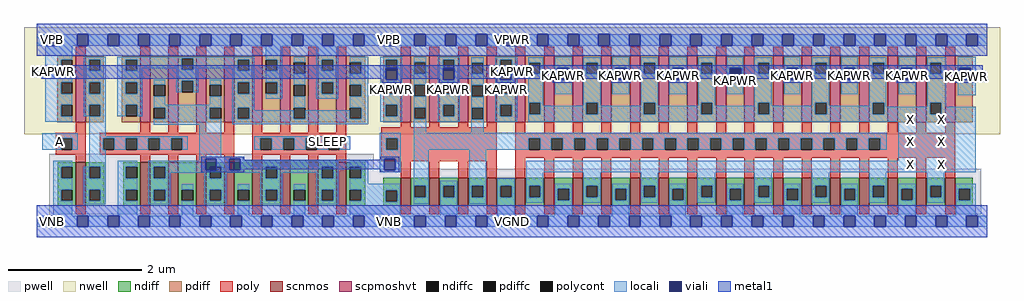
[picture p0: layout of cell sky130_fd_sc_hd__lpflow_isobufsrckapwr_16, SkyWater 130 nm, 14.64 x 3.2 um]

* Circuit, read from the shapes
.subckt sky130_fd_sc_hd__lpflow_isobufsrckapwr_16 A SLEEP KAPWR VGND VNB VPB VPWR X
XM1 n1 A VGND VNB sky130_fd_pr__nfet_01v8 w=0.65 l=0.15
XM2 n2 n1 VGND VNB sky130_fd_pr__nfet_01v8 w=0.65 l=0.15 m=4
XM3 n2 SLEEP VGND VNB sky130_fd_pr__nfet_01v8 w=0.65 l=0.15 m=4
XM4 n3 n2 VGND VNB sky130_fd_pr__nfet_01v8 w=0.42 l=0.15 m=4
XM5 X n3 VGND VNB sky130_fd_pr__nfet_01v8 w=0.42 l=0.15 m=16
XM6 n1 A VPWR VPB sky130_fd_pr__pfet_01v8_hvt w=1 l=0.15
XM7 n2 n1 n4 VPB sky130_fd_pr__pfet_01v8_hvt w=1 l=0.15 m=4
XM8 VPWR SLEEP n4 VPB sky130_fd_pr__pfet_01v8_hvt w=1 l=0.15 m=4
XM9 n3 n2 KAPWR VPB sky130_fd_pr__pfet_01v8_hvt w=1 l=0.15 m=4
XM10 X n3 KAPWR VPB sky130_fd_pr__pfet_01v8_hvt w=1 l=0.15 m=16
.ends

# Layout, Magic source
magic
tech sky130A
magscale 1 2
<< nwell >>
rect -38 261 2890 582
<< pwell >>
rect 37 157 1011 203
rect 37 21 2834 157
rect 37 17 64 21
rect 30 -17 64 17
rect 1041 -17 1075 21
<< scnmos >>
rect 117 47 147 177
rect 311 47 341 177
rect 395 47 425 177
rect 479 47 509 177
rect 563 47 593 177
rect 647 47 677 177
rect 731 47 761 177
rect 815 47 845 177
rect 899 47 929 177
rect 1092 47 1122 131
rect 1178 47 1208 131
rect 1264 47 1294 131
rect 1350 47 1380 131
rect 1436 47 1466 131
rect 1522 47 1552 131
rect 1608 47 1638 131
rect 1694 47 1724 131
rect 1780 47 1810 131
rect 1866 47 1896 131
rect 1952 47 1982 131
rect 2038 47 2068 131
rect 2123 47 2153 131
rect 2209 47 2239 131
rect 2295 47 2325 131
rect 2381 47 2411 131
rect 2467 47 2497 131
rect 2553 47 2583 131
rect 2639 47 2669 131
rect 2725 47 2755 131
<< scpmoshvt >>
rect 117 297 147 497
rect 311 297 341 497
rect 395 297 425 497
rect 479 297 509 497
rect 563 297 593 497
rect 647 297 677 497
rect 731 297 761 497
rect 815 297 845 497
rect 899 297 929 497
rect 1092 297 1122 497
rect 1178 297 1208 497
rect 1264 297 1294 497
rect 1350 297 1380 497
rect 1436 297 1466 497
rect 1522 297 1552 497
rect 1608 297 1638 497
rect 1694 297 1724 497
rect 1780 297 1810 497
rect 1866 297 1896 497
rect 1952 297 1982 497
rect 2038 297 2068 497
rect 2123 297 2153 497
rect 2209 297 2239 497
rect 2295 297 2325 497
rect 2381 297 2411 497
rect 2467 297 2497 497
rect 2553 297 2583 497
rect 2639 297 2669 497
rect 2725 297 2755 497
<< ndiff >>
rect 63 163 117 177
rect 63 129 73 163
rect 107 129 117 163
rect 63 95 117 129
rect 63 61 73 95
rect 107 61 117 95
rect 63 47 117 61
rect 147 163 203 177
rect 147 129 157 163
rect 191 129 203 163
rect 147 95 203 129
rect 147 61 157 95
rect 191 61 203 95
rect 147 47 203 61
rect 259 163 311 177
rect 259 129 267 163
rect 301 129 311 163
rect 259 95 311 129
rect 259 61 267 95
rect 301 61 311 95
rect 259 47 311 61
rect 341 163 395 177
rect 341 129 351 163
rect 385 129 395 163
rect 341 95 395 129
rect 341 61 351 95
rect 385 61 395 95
rect 341 47 395 61
rect 425 95 479 177
rect 425 61 435 95
rect 469 61 479 95
rect 425 47 479 61
rect 509 163 563 177
rect 509 129 519 163
rect 553 129 563 163
rect 509 95 563 129
rect 509 61 519 95
rect 553 61 563 95
rect 509 47 563 61
rect 593 95 647 177
rect 593 61 603 95
rect 637 61 647 95
rect 593 47 647 61
rect 677 163 731 177
rect 677 129 687 163
rect 721 129 731 163
rect 677 95 731 129
rect 677 61 687 95
rect 721 61 731 95
rect 677 47 731 61
rect 761 95 815 177
rect 761 61 771 95
rect 805 61 815 95
rect 761 47 815 61
rect 845 163 899 177
rect 845 129 855 163
rect 889 129 899 163
rect 845 95 899 129
rect 845 61 855 95
rect 889 61 899 95
rect 845 47 899 61
rect 929 163 985 177
rect 929 129 939 163
rect 973 129 985 163
rect 929 95 985 129
rect 929 61 939 95
rect 973 61 985 95
rect 929 47 985 61
rect 1039 93 1092 131
rect 1039 59 1047 93
rect 1081 59 1092 93
rect 1039 47 1092 59
rect 1122 106 1178 131
rect 1122 72 1133 106
rect 1167 72 1178 106
rect 1122 47 1178 72
rect 1208 106 1264 131
rect 1208 72 1219 106
rect 1253 72 1264 106
rect 1208 47 1264 72
rect 1294 106 1350 131
rect 1294 72 1305 106
rect 1339 72 1350 106
rect 1294 47 1350 72
rect 1380 106 1436 131
rect 1380 72 1391 106
rect 1425 72 1436 106
rect 1380 47 1436 72
rect 1466 106 1522 131
rect 1466 72 1477 106
rect 1511 72 1522 106
rect 1466 47 1522 72
rect 1552 97 1608 131
rect 1552 63 1563 97
rect 1597 63 1608 97
rect 1552 47 1608 63
rect 1638 106 1694 131
rect 1638 72 1649 106
rect 1683 72 1694 106
rect 1638 47 1694 72
rect 1724 97 1780 131
rect 1724 63 1735 97
rect 1769 63 1780 97
rect 1724 47 1780 63
rect 1810 106 1866 131
rect 1810 72 1821 106
rect 1855 72 1866 106
rect 1810 47 1866 72
rect 1896 97 1952 131
rect 1896 63 1907 97
rect 1941 63 1952 97
rect 1896 47 1952 63
rect 1982 106 2038 131
rect 1982 72 1993 106
rect 2027 72 2038 106
rect 1982 47 2038 72
rect 2068 97 2123 131
rect 2068 63 2079 97
rect 2113 63 2123 97
rect 2068 47 2123 63
rect 2153 106 2209 131
rect 2153 72 2164 106
rect 2198 72 2209 106
rect 2153 47 2209 72
rect 2239 97 2295 131
rect 2239 63 2250 97
rect 2284 63 2295 97
rect 2239 47 2295 63
rect 2325 106 2381 131
rect 2325 72 2336 106
rect 2370 72 2381 106
rect 2325 47 2381 72
rect 2411 97 2467 131
rect 2411 63 2422 97
rect 2456 63 2467 97
rect 2411 47 2467 63
rect 2497 106 2553 131
rect 2497 72 2508 106
rect 2542 72 2553 106
rect 2497 47 2553 72
rect 2583 97 2639 131
rect 2583 63 2594 97
rect 2628 63 2639 97
rect 2583 47 2639 63
rect 2669 106 2725 131
rect 2669 72 2680 106
rect 2714 72 2725 106
rect 2669 47 2725 72
rect 2755 97 2808 131
rect 2755 63 2766 97
rect 2800 63 2808 97
rect 2755 47 2808 63
<< pdiff >>
rect 61 485 117 497
rect 61 451 73 485
rect 107 451 117 485
rect 61 417 117 451
rect 61 383 73 417
rect 107 383 117 417
rect 61 349 117 383
rect 61 315 73 349
rect 107 315 117 349
rect 61 297 117 315
rect 147 485 201 497
rect 147 451 157 485
rect 191 451 201 485
rect 147 417 201 451
rect 147 383 157 417
rect 191 383 201 417
rect 147 349 201 383
rect 147 315 157 349
rect 191 315 201 349
rect 147 297 201 315
rect 255 485 311 497
rect 255 451 267 485
rect 301 451 311 485
rect 255 417 311 451
rect 255 383 267 417
rect 301 383 311 417
rect 255 349 311 383
rect 255 315 267 349
rect 301 315 311 349
rect 255 297 311 315
rect 341 409 395 497
rect 341 375 351 409
rect 385 375 395 409
rect 341 341 395 375
rect 341 307 351 341
rect 385 307 395 341
rect 341 297 395 307
rect 425 489 479 497
rect 425 455 435 489
rect 469 455 479 489
rect 425 421 479 455
rect 425 387 435 421
rect 469 387 479 421
rect 425 297 479 387
rect 509 409 563 497
rect 509 375 519 409
rect 553 375 563 409
rect 509 341 563 375
rect 509 307 519 341
rect 553 307 563 341
rect 509 297 563 307
rect 593 485 647 497
rect 593 451 603 485
rect 637 451 647 485
rect 593 417 647 451
rect 593 383 603 417
rect 637 383 647 417
rect 593 341 647 383
rect 593 307 603 341
rect 637 307 647 341
rect 593 297 647 307
rect 677 485 731 497
rect 677 451 687 485
rect 721 451 731 485
rect 677 417 731 451
rect 677 383 687 417
rect 721 383 731 417
rect 677 297 731 383
rect 761 477 815 497
rect 761 443 771 477
rect 805 443 815 477
rect 761 409 815 443
rect 761 375 771 409
rect 805 375 815 409
rect 761 341 815 375
rect 761 307 771 341
rect 805 307 815 341
rect 761 297 815 307
rect 845 485 899 497
rect 845 451 855 485
rect 889 451 899 485
rect 845 417 899 451
rect 845 383 855 417
rect 889 383 899 417
rect 845 297 899 383
rect 929 477 985 497
rect 929 443 939 477
rect 973 443 985 477
rect 929 409 985 443
rect 929 375 939 409
rect 973 375 985 409
rect 929 341 985 375
rect 929 307 939 341
rect 973 307 985 341
rect 929 297 985 307
rect 1039 485 1092 497
rect 1039 451 1047 485
rect 1081 451 1092 485
rect 1039 417 1092 451
rect 1039 383 1047 417
rect 1081 383 1092 417
rect 1039 349 1092 383
rect 1039 315 1047 349
rect 1081 315 1092 349
rect 1039 297 1092 315
rect 1122 477 1178 497
rect 1122 443 1133 477
rect 1167 443 1178 477
rect 1122 409 1178 443
rect 1122 375 1133 409
rect 1167 375 1178 409
rect 1122 341 1178 375
rect 1122 307 1133 341
rect 1167 307 1178 341
rect 1122 297 1178 307
rect 1208 485 1264 497
rect 1208 451 1219 485
rect 1253 451 1264 485
rect 1208 417 1264 451
rect 1208 383 1219 417
rect 1253 383 1264 417
rect 1208 349 1264 383
rect 1208 315 1219 349
rect 1253 315 1264 349
rect 1208 297 1264 315
rect 1294 476 1350 497
rect 1294 442 1305 476
rect 1339 442 1350 476
rect 1294 408 1350 442
rect 1294 374 1305 408
rect 1339 374 1350 408
rect 1294 340 1350 374
rect 1294 306 1305 340
rect 1339 306 1350 340
rect 1294 297 1350 306
rect 1380 485 1436 497
rect 1380 451 1391 485
rect 1425 451 1436 485
rect 1380 417 1436 451
rect 1380 383 1391 417
rect 1425 383 1436 417
rect 1380 349 1436 383
rect 1380 315 1391 349
rect 1425 315 1436 349
rect 1380 297 1436 315
rect 1466 476 1522 497
rect 1466 442 1477 476
rect 1511 442 1522 476
rect 1466 355 1522 442
rect 1466 321 1477 355
rect 1511 321 1522 355
rect 1466 297 1522 321
rect 1552 461 1608 497
rect 1552 427 1563 461
rect 1597 427 1608 461
rect 1552 297 1608 427
rect 1638 476 1694 497
rect 1638 442 1649 476
rect 1683 442 1694 476
rect 1638 355 1694 442
rect 1638 321 1649 355
rect 1683 321 1694 355
rect 1638 297 1694 321
rect 1724 461 1780 497
rect 1724 427 1735 461
rect 1769 427 1780 461
rect 1724 297 1780 427
rect 1810 476 1866 497
rect 1810 442 1821 476
rect 1855 442 1866 476
rect 1810 355 1866 442
rect 1810 321 1821 355
rect 1855 321 1866 355
rect 1810 297 1866 321
rect 1896 461 1952 497
rect 1896 427 1907 461
rect 1941 427 1952 461
rect 1896 297 1952 427
rect 1982 476 2038 497
rect 1982 442 1993 476
rect 2027 442 2038 476
rect 1982 355 2038 442
rect 1982 321 1993 355
rect 2027 321 2038 355
rect 1982 297 2038 321
rect 2068 461 2123 497
rect 2068 427 2079 461
rect 2113 427 2123 461
rect 2068 297 2123 427
rect 2153 476 2209 497
rect 2153 442 2164 476
rect 2198 442 2209 476
rect 2153 355 2209 442
rect 2153 321 2164 355
rect 2198 321 2209 355
rect 2153 297 2209 321
rect 2239 461 2295 497
rect 2239 427 2250 461
rect 2284 427 2295 461
rect 2239 297 2295 427
rect 2325 476 2381 497
rect 2325 442 2336 476
rect 2370 442 2381 476
rect 2325 355 2381 442
rect 2325 321 2336 355
rect 2370 321 2381 355
rect 2325 297 2381 321
rect 2411 461 2467 497
rect 2411 427 2422 461
rect 2456 427 2467 461
rect 2411 297 2467 427
rect 2497 476 2553 497
rect 2497 442 2508 476
rect 2542 442 2553 476
rect 2497 355 2553 442
rect 2497 321 2508 355
rect 2542 321 2553 355
rect 2497 297 2553 321
rect 2583 461 2639 497
rect 2583 427 2594 461
rect 2628 427 2639 461
rect 2583 297 2639 427
rect 2669 476 2725 497
rect 2669 442 2680 476
rect 2714 442 2725 476
rect 2669 355 2725 442
rect 2669 321 2680 355
rect 2714 321 2725 355
rect 2669 297 2725 321
rect 2755 461 2808 497
rect 2755 427 2766 461
rect 2800 427 2808 461
rect 2755 297 2808 427
<< ndiffc >>
rect 73 129 107 163
rect 73 61 107 95
rect 157 129 191 163
rect 157 61 191 95
rect 267 129 301 163
rect 267 61 301 95
rect 351 129 385 163
rect 351 61 385 95
rect 435 61 469 95
rect 519 129 553 163
rect 519 61 553 95
rect 603 61 637 95
rect 687 129 721 163
rect 687 61 721 95
rect 771 61 805 95
rect 855 129 889 163
rect 855 61 889 95
rect 939 129 973 163
rect 939 61 973 95
rect 1047 59 1081 93
rect 1133 72 1167 106
rect 1219 72 1253 106
rect 1305 72 1339 106
rect 1391 72 1425 106
rect 1477 72 1511 106
rect 1563 63 1597 97
rect 1649 72 1683 106
rect 1735 63 1769 97
rect 1821 72 1855 106
rect 1907 63 1941 97
rect 1993 72 2027 106
rect 2079 63 2113 97
rect 2164 72 2198 106
rect 2250 63 2284 97
rect 2336 72 2370 106
rect 2422 63 2456 97
rect 2508 72 2542 106
rect 2594 63 2628 97
rect 2680 72 2714 106
rect 2766 63 2800 97
<< pdiffc >>
rect 73 451 107 485
rect 73 383 107 417
rect 73 315 107 349
rect 157 451 191 485
rect 157 383 191 417
rect 157 315 191 349
rect 267 451 301 485
rect 267 383 301 417
rect 267 315 301 349
rect 351 375 385 409
rect 351 307 385 341
rect 435 455 469 489
rect 435 387 469 421
rect 519 375 553 409
rect 519 307 553 341
rect 603 451 637 485
rect 603 383 637 417
rect 603 307 637 341
rect 687 451 721 485
rect 687 383 721 417
rect 771 443 805 477
rect 771 375 805 409
rect 771 307 805 341
rect 855 451 889 485
rect 855 383 889 417
rect 939 443 973 477
rect 939 375 973 409
rect 939 307 973 341
rect 1047 451 1081 485
rect 1047 383 1081 417
rect 1047 315 1081 349
rect 1133 443 1167 477
rect 1133 375 1167 409
rect 1133 307 1167 341
rect 1219 451 1253 485
rect 1219 383 1253 417
rect 1219 315 1253 349
rect 1305 442 1339 476
rect 1305 374 1339 408
rect 1305 306 1339 340
rect 1391 451 1425 485
rect 1391 383 1425 417
rect 1391 315 1425 349
rect 1477 442 1511 476
rect 1477 321 1511 355
rect 1563 427 1597 461
rect 1649 442 1683 476
rect 1649 321 1683 355
rect 1735 427 1769 461
rect 1821 442 1855 476
rect 1821 321 1855 355
rect 1907 427 1941 461
rect 1993 442 2027 476
rect 1993 321 2027 355
rect 2079 427 2113 461
rect 2164 442 2198 476
rect 2164 321 2198 355
rect 2250 427 2284 461
rect 2336 442 2370 476
rect 2336 321 2370 355
rect 2422 427 2456 461
rect 2508 442 2542 476
rect 2508 321 2542 355
rect 2594 427 2628 461
rect 2680 442 2714 476
rect 2680 321 2714 355
rect 2766 427 2800 461
<< poly >>
rect 117 497 147 523
rect 311 497 341 523
rect 395 497 425 523
rect 479 497 509 523
rect 563 497 593 523
rect 647 497 677 523
rect 731 497 761 523
rect 815 497 845 523
rect 899 497 929 523
rect 1092 497 1122 523
rect 1178 497 1208 523
rect 1264 497 1294 523
rect 1350 497 1380 523
rect 1436 497 1466 523
rect 1522 497 1552 523
rect 1608 497 1638 523
rect 1694 497 1724 523
rect 1780 497 1810 523
rect 1866 497 1896 523
rect 1952 497 1982 523
rect 2038 497 2068 523
rect 2123 497 2153 523
rect 2209 497 2239 523
rect 2295 497 2325 523
rect 2381 497 2411 523
rect 2467 497 2497 523
rect 2553 497 2583 523
rect 2639 497 2669 523
rect 2725 497 2755 523
rect 117 265 147 297
rect 311 265 341 297
rect 395 265 425 297
rect 479 265 509 297
rect 563 265 593 297
rect 57 249 147 265
rect 57 215 73 249
rect 107 215 147 249
rect 57 199 147 215
rect 189 249 593 265
rect 189 215 199 249
rect 233 215 267 249
rect 301 215 335 249
rect 369 215 403 249
rect 437 215 593 249
rect 189 199 593 215
rect 117 177 147 199
rect 311 177 341 199
rect 395 177 425 199
rect 479 177 509 199
rect 563 177 593 199
rect 647 265 677 297
rect 731 265 761 297
rect 815 265 845 297
rect 899 265 929 297
rect 1092 282 1122 297
rect 1178 282 1208 297
rect 1264 282 1294 297
rect 1350 282 1380 297
rect 647 249 929 265
rect 647 215 671 249
rect 705 215 739 249
rect 773 215 807 249
rect 841 215 875 249
rect 909 215 929 249
rect 647 199 929 215
rect 647 177 677 199
rect 731 177 761 199
rect 815 177 845 199
rect 899 177 929 199
rect 1033 249 1380 282
rect 1033 215 1049 249
rect 1083 215 1380 249
rect 1033 180 1380 215
rect 1092 131 1122 180
rect 1178 131 1208 180
rect 1264 131 1294 180
rect 1350 131 1380 180
rect 1436 265 1466 297
rect 1522 265 1552 297
rect 1608 265 1638 297
rect 1694 265 1724 297
rect 1780 265 1810 297
rect 1866 265 1896 297
rect 1952 265 1982 297
rect 2038 265 2068 297
rect 2123 265 2153 297
rect 2209 265 2239 297
rect 2295 265 2325 297
rect 2381 265 2411 297
rect 2467 265 2497 297
rect 2553 265 2583 297
rect 2639 265 2669 297
rect 2725 265 2755 297
rect 1436 249 2755 265
rect 1436 215 1476 249
rect 1510 215 1544 249
rect 1578 215 1612 249
rect 1646 215 1680 249
rect 1714 215 1748 249
rect 1782 215 1816 249
rect 1850 215 1884 249
rect 1918 215 1952 249
rect 1986 215 2020 249
rect 2054 215 2088 249
rect 2122 215 2156 249
rect 2190 215 2224 249
rect 2258 215 2292 249
rect 2326 215 2360 249
rect 2394 215 2428 249
rect 2462 215 2496 249
rect 2530 215 2755 249
rect 1436 190 2755 215
rect 1436 131 1466 190
rect 1522 131 1552 190
rect 1608 131 1638 190
rect 1694 131 1724 190
rect 1780 131 1810 190
rect 1866 131 1896 190
rect 1952 131 1982 190
rect 2038 131 2068 190
rect 2123 131 2153 190
rect 2209 131 2239 190
rect 2295 131 2325 190
rect 2381 131 2411 190
rect 2467 131 2497 190
rect 2553 131 2583 190
rect 2639 131 2669 190
rect 2725 131 2755 190
rect 117 21 147 47
rect 311 21 341 47
rect 395 21 425 47
rect 479 21 509 47
rect 563 21 593 47
rect 647 21 677 47
rect 731 21 761 47
rect 815 21 845 47
rect 899 21 929 47
rect 1092 21 1122 47
rect 1178 21 1208 47
rect 1264 21 1294 47
rect 1350 21 1380 47
rect 1436 21 1466 47
rect 1522 21 1552 47
rect 1608 21 1638 47
rect 1694 21 1724 47
rect 1780 21 1810 47
rect 1866 21 1896 47
rect 1952 21 1982 47
rect 2038 21 2068 47
rect 2123 21 2153 47
rect 2209 21 2239 47
rect 2295 21 2325 47
rect 2381 21 2411 47
rect 2467 21 2497 47
rect 2553 21 2583 47
rect 2639 21 2669 47
rect 2725 21 2755 47
<< polycont >>
rect 73 215 107 249
rect 199 215 233 249
rect 267 215 301 249
rect 335 215 369 249
rect 403 215 437 249
rect 671 215 705 249
rect 739 215 773 249
rect 807 215 841 249
rect 875 215 909 249
rect 1049 215 1083 249
rect 1476 215 1510 249
rect 1544 215 1578 249
rect 1612 215 1646 249
rect 1680 215 1714 249
rect 1748 215 1782 249
rect 1816 215 1850 249
rect 1884 215 1918 249
rect 1952 215 1986 249
rect 2020 215 2054 249
rect 2088 215 2122 249
rect 2156 215 2190 249
rect 2224 215 2258 249
rect 2292 215 2326 249
rect 2360 215 2394 249
rect 2428 215 2462 249
rect 2496 215 2530 249
<< locali >>
rect 0 527 29 561
rect 63 527 121 561
rect 155 527 213 561
rect 247 527 305 561
rect 339 527 397 561
rect 431 527 489 561
rect 523 527 581 561
rect 615 527 673 561
rect 707 527 765 561
rect 799 527 857 561
rect 891 527 949 561
rect 983 527 1041 561
rect 1075 527 1133 561
rect 1167 527 1225 561
rect 1259 527 1317 561
rect 1351 527 1409 561
rect 1443 527 1501 561
rect 1535 527 1593 561
rect 1627 527 1685 561
rect 1719 527 1777 561
rect 1811 527 1869 561
rect 1903 527 1961 561
rect 1995 527 2053 561
rect 2087 527 2145 561
rect 2179 527 2237 561
rect 2271 527 2329 561
rect 2363 527 2421 561
rect 2455 527 2513 561
rect 2547 527 2605 561
rect 2639 527 2697 561
rect 2731 527 2789 561
rect 2823 527 2852 561
rect 26 485 107 527
rect 26 451 73 485
rect 26 417 107 451
rect 26 383 73 417
rect 26 349 107 383
rect 26 315 73 349
rect 141 485 207 493
rect 141 451 157 485
rect 191 451 207 485
rect 141 417 207 451
rect 141 383 157 417
rect 191 383 207 417
rect 141 349 207 383
rect 141 315 157 349
rect 191 315 207 349
rect 241 489 653 493
rect 241 485 435 489
rect 241 451 267 485
rect 301 459 435 485
rect 301 451 317 459
rect 241 417 317 451
rect 419 455 435 459
rect 469 485 653 489
rect 469 459 603 485
rect 469 455 485 459
rect 241 383 267 417
rect 301 383 317 417
rect 241 349 317 383
rect 241 315 267 349
rect 301 315 317 349
rect 351 409 385 425
rect 419 421 485 455
rect 587 451 603 459
rect 637 451 653 485
rect 419 387 435 421
rect 469 387 485 421
rect 519 409 553 425
rect 351 349 385 375
rect 519 349 553 375
rect 351 341 553 349
rect 26 299 107 315
rect 17 249 123 264
rect 17 215 73 249
rect 107 215 123 249
rect 157 255 207 315
rect 385 307 519 341
rect 351 289 553 307
rect 587 417 653 451
rect 587 383 603 417
rect 637 383 653 417
rect 587 341 653 383
rect 687 485 737 527
rect 721 451 737 485
rect 687 417 737 451
rect 721 383 737 417
rect 687 367 737 383
rect 771 477 805 493
rect 771 409 805 443
rect 587 307 603 341
rect 637 333 653 341
rect 771 341 805 375
rect 839 485 905 527
rect 839 451 855 485
rect 889 451 905 485
rect 839 417 905 451
rect 839 383 855 417
rect 889 383 905 417
rect 839 367 905 383
rect 939 477 995 493
rect 973 443 995 477
rect 939 409 995 443
rect 973 375 995 409
rect 637 307 771 333
rect 939 341 995 375
rect 805 307 939 333
rect 973 307 995 341
rect 587 291 995 307
rect 1031 485 1097 493
rect 1031 425 1047 485
rect 1081 425 1097 485
rect 1031 417 1097 425
rect 1031 383 1047 417
rect 1081 383 1097 417
rect 1031 349 1097 383
rect 1031 315 1047 349
rect 1081 315 1097 349
rect 1031 299 1097 315
rect 1131 477 1169 493
rect 1131 443 1133 477
rect 1167 443 1169 477
rect 1131 409 1169 443
rect 1131 375 1133 409
rect 1167 375 1169 409
rect 1131 341 1169 375
rect 1131 307 1133 341
rect 1167 307 1169 341
rect 157 249 453 255
rect 157 215 199 249
rect 233 215 267 249
rect 301 215 335 249
rect 369 215 403 249
rect 437 215 453 249
rect 49 163 107 181
rect 157 163 207 215
rect 487 193 553 289
rect 1131 265 1169 307
rect 1203 485 1269 493
rect 1203 425 1219 485
rect 1253 425 1269 485
rect 1203 417 1269 425
rect 1203 383 1219 417
rect 1253 383 1269 417
rect 1203 349 1269 383
rect 1203 315 1219 349
rect 1253 315 1269 349
rect 1203 299 1269 315
rect 1303 476 1341 492
rect 1303 442 1305 476
rect 1339 442 1341 476
rect 1303 408 1341 442
rect 1303 374 1305 408
rect 1339 374 1341 408
rect 1303 340 1341 374
rect 1303 306 1305 340
rect 1339 306 1341 340
rect 1303 265 1341 306
rect 1375 485 1441 493
rect 1375 459 1391 485
rect 1375 425 1390 459
rect 1425 451 1441 485
rect 1424 425 1441 451
rect 1375 417 1441 425
rect 1375 383 1391 417
rect 1425 383 1441 417
rect 1375 349 1441 383
rect 1375 315 1391 349
rect 1425 315 1441 349
rect 1375 299 1441 315
rect 1475 476 1520 492
rect 1475 442 1477 476
rect 1511 442 1520 476
rect 1475 355 1520 442
rect 1554 461 1606 493
rect 1554 459 1563 461
rect 1554 425 1560 459
rect 1597 427 1606 461
rect 1594 425 1606 427
rect 1554 381 1606 425
rect 1640 476 1692 492
rect 1640 442 1649 476
rect 1683 442 1692 476
rect 1475 321 1477 355
rect 1511 347 1520 355
rect 1640 355 1692 442
rect 1726 461 1778 493
rect 1726 427 1735 461
rect 1769 459 1778 461
rect 1726 425 1736 427
rect 1770 425 1778 459
rect 1726 381 1778 425
rect 1812 476 1864 492
rect 1812 442 1821 476
rect 1855 442 1864 476
rect 1640 347 1649 355
rect 1511 321 1649 347
rect 1683 347 1692 355
rect 1812 355 1864 442
rect 1898 461 1950 493
rect 1898 427 1907 461
rect 1941 459 1950 461
rect 1898 425 1908 427
rect 1942 425 1950 459
rect 1898 381 1950 425
rect 1984 476 2036 492
rect 1984 442 1993 476
rect 2027 442 2036 476
rect 1812 347 1821 355
rect 1683 321 1821 347
rect 1855 347 1864 355
rect 1984 355 2036 442
rect 2070 461 2119 493
rect 2070 425 2079 461
rect 2113 425 2119 461
rect 2070 381 2119 425
rect 2153 476 2205 492
rect 2153 442 2164 476
rect 2198 442 2205 476
rect 1984 347 1993 355
rect 1855 321 1993 347
rect 2027 347 2036 355
rect 2153 355 2205 442
rect 2242 461 2291 493
rect 2242 427 2250 461
rect 2284 459 2291 461
rect 2242 425 2251 427
rect 2285 425 2291 459
rect 2242 381 2291 425
rect 2325 476 2377 492
rect 2325 442 2336 476
rect 2370 442 2377 476
rect 2153 347 2164 355
rect 2027 321 2164 347
rect 2198 347 2205 355
rect 2325 355 2377 442
rect 2414 461 2463 493
rect 2414 425 2422 461
rect 2456 425 2463 461
rect 2414 381 2463 425
rect 2497 476 2549 492
rect 2497 442 2508 476
rect 2542 442 2549 476
rect 2325 347 2336 355
rect 2198 321 2336 347
rect 2370 347 2377 355
rect 2497 355 2549 442
rect 2586 461 2637 493
rect 2586 459 2594 461
rect 2586 425 2592 459
rect 2628 427 2637 461
rect 2626 425 2637 427
rect 2586 381 2637 425
rect 2671 476 2729 492
rect 2671 442 2680 476
rect 2714 442 2729 476
rect 2497 347 2508 355
rect 2370 321 2508 347
rect 2542 344 2549 355
rect 2671 355 2729 442
rect 2763 461 2817 493
rect 2763 427 2766 461
rect 2800 459 2817 461
rect 2763 425 2768 427
rect 2802 425 2817 459
rect 2763 378 2817 425
rect 2671 344 2680 355
rect 2542 321 2680 344
rect 2714 344 2729 355
rect 2714 321 2817 344
rect 1475 299 2817 321
rect 652 249 940 255
rect 652 215 671 249
rect 705 215 739 249
rect 773 215 807 249
rect 841 215 875 249
rect 909 215 940 249
rect 1029 249 1092 265
rect 1029 215 1049 249
rect 1083 215 1092 249
rect 487 187 619 193
rect 487 181 505 187
rect 49 129 73 163
rect 49 95 107 129
rect 49 61 73 95
rect 49 17 107 61
rect 141 129 157 163
rect 191 129 207 163
rect 141 95 207 129
rect 141 61 157 95
rect 191 61 207 95
rect 141 51 207 61
rect 243 163 301 181
rect 243 129 267 163
rect 243 95 301 129
rect 243 61 267 95
rect 243 17 301 61
rect 335 163 505 181
rect 539 163 577 187
rect 335 129 351 163
rect 385 153 505 163
rect 553 153 577 163
rect 611 181 619 187
rect 1029 187 1092 215
rect 611 163 905 181
rect 611 153 687 163
rect 385 145 519 153
rect 385 129 401 145
rect 335 95 401 129
rect 503 129 519 145
rect 553 145 687 153
rect 553 129 569 145
rect 335 61 351 95
rect 385 61 401 95
rect 335 51 401 61
rect 435 95 469 111
rect 435 17 469 61
rect 503 95 569 129
rect 671 129 687 145
rect 721 145 855 163
rect 721 129 737 145
rect 503 61 519 95
rect 553 61 569 95
rect 503 51 569 61
rect 603 95 637 111
rect 603 17 637 61
rect 671 95 737 129
rect 839 129 855 145
rect 889 129 905 163
rect 671 61 687 95
rect 721 61 737 95
rect 671 51 737 61
rect 771 95 805 111
rect 771 17 805 61
rect 839 95 905 129
rect 839 61 855 95
rect 889 61 905 95
rect 839 51 905 61
rect 939 163 995 181
rect 973 129 995 163
rect 1029 153 1042 187
rect 1076 153 1092 187
rect 1029 147 1092 153
rect 1131 249 2550 265
rect 1131 215 1476 249
rect 1510 215 1544 249
rect 1578 215 1612 249
rect 1646 215 1680 249
rect 1714 215 1748 249
rect 1782 215 1816 249
rect 1850 215 1884 249
rect 1918 215 1952 249
rect 1986 215 2020 249
rect 2054 215 2088 249
rect 2122 215 2156 249
rect 2190 215 2224 249
rect 2258 215 2292 249
rect 2326 215 2360 249
rect 2394 215 2428 249
rect 2462 215 2496 249
rect 2530 215 2550 249
rect 939 113 995 129
rect 939 95 1090 113
rect 973 93 1090 95
rect 973 61 1047 93
rect 939 59 1047 61
rect 1081 59 1090 93
rect 939 17 1090 59
rect 1131 106 1176 215
rect 1131 72 1133 106
rect 1167 72 1176 106
rect 1131 53 1176 72
rect 1210 106 1262 122
rect 1210 72 1219 106
rect 1253 72 1262 106
rect 1210 17 1262 72
rect 1298 106 1348 215
rect 2584 181 2817 299
rect 1468 147 2817 181
rect 1298 72 1305 106
rect 1339 72 1348 106
rect 1298 53 1348 72
rect 1382 106 1434 129
rect 1382 72 1391 106
rect 1425 72 1434 106
rect 1382 17 1434 72
rect 1468 106 1520 147
rect 1468 72 1477 106
rect 1511 72 1520 106
rect 1468 56 1520 72
rect 1554 97 1606 113
rect 1554 63 1563 97
rect 1597 63 1606 97
rect 1554 17 1606 63
rect 1640 106 1692 147
rect 1640 72 1649 106
rect 1683 72 1692 106
rect 1640 56 1692 72
rect 1726 97 1778 113
rect 1726 63 1735 97
rect 1769 63 1778 97
rect 1726 17 1778 63
rect 1812 106 1864 147
rect 1812 72 1821 106
rect 1855 72 1864 106
rect 1812 56 1864 72
rect 1898 97 1947 113
rect 1898 63 1907 97
rect 1941 63 1947 97
rect 1898 17 1947 63
rect 1981 106 2036 147
rect 1981 72 1993 106
rect 2027 72 2036 106
rect 1981 56 2036 72
rect 2070 97 2119 113
rect 2070 63 2079 97
rect 2113 63 2119 97
rect 2070 17 2119 63
rect 2153 106 2205 147
rect 2153 72 2164 106
rect 2198 72 2205 106
rect 2153 56 2205 72
rect 2241 97 2291 113
rect 2241 63 2250 97
rect 2284 63 2291 97
rect 2241 17 2291 63
rect 2325 106 2377 147
rect 2325 72 2336 106
rect 2370 72 2377 106
rect 2325 56 2377 72
rect 2413 97 2463 113
rect 2413 63 2422 97
rect 2456 63 2463 97
rect 2413 17 2463 63
rect 2497 106 2549 147
rect 2497 72 2508 106
rect 2542 72 2549 106
rect 2497 56 2549 72
rect 2585 97 2637 113
rect 2585 63 2594 97
rect 2628 63 2637 97
rect 2585 17 2637 63
rect 2671 106 2723 147
rect 2671 72 2680 106
rect 2714 72 2723 106
rect 2671 56 2723 72
rect 2757 97 2817 113
rect 2757 63 2766 97
rect 2800 63 2817 97
rect 2757 17 2817 63
rect 0 -17 29 17
rect 63 -17 121 17
rect 155 -17 213 17
rect 247 -17 305 17
rect 339 -17 397 17
rect 431 -17 489 17
rect 523 -17 581 17
rect 615 -17 673 17
rect 707 -17 765 17
rect 799 -17 857 17
rect 891 -17 949 17
rect 983 -17 1041 17
rect 1075 -17 1133 17
rect 1167 -17 1225 17
rect 1259 -17 1317 17
rect 1351 -17 1409 17
rect 1443 -17 1501 17
rect 1535 -17 1593 17
rect 1627 -17 1685 17
rect 1719 -17 1777 17
rect 1811 -17 1869 17
rect 1903 -17 1961 17
rect 1995 -17 2053 17
rect 2087 -17 2145 17
rect 2179 -17 2237 17
rect 2271 -17 2329 17
rect 2363 -17 2421 17
rect 2455 -17 2513 17
rect 2547 -17 2605 17
rect 2639 -17 2697 17
rect 2731 -17 2789 17
rect 2823 -17 2852 17
<< viali >>
rect 29 527 63 561
rect 121 527 155 561
rect 213 527 247 561
rect 305 527 339 561
rect 397 527 431 561
rect 489 527 523 561
rect 581 527 615 561
rect 673 527 707 561
rect 765 527 799 561
rect 857 527 891 561
rect 949 527 983 561
rect 1041 527 1075 561
rect 1133 527 1167 561
rect 1225 527 1259 561
rect 1317 527 1351 561
rect 1409 527 1443 561
rect 1501 527 1535 561
rect 1593 527 1627 561
rect 1685 527 1719 561
rect 1777 527 1811 561
rect 1869 527 1903 561
rect 1961 527 1995 561
rect 2053 527 2087 561
rect 2145 527 2179 561
rect 2237 527 2271 561
rect 2329 527 2363 561
rect 2421 527 2455 561
rect 2513 527 2547 561
rect 2605 527 2639 561
rect 2697 527 2731 561
rect 2789 527 2823 561
rect 1047 451 1081 459
rect 1047 425 1081 451
rect 1219 451 1253 459
rect 1219 425 1253 451
rect 1390 451 1391 459
rect 1391 451 1424 459
rect 1390 425 1424 451
rect 1560 427 1563 459
rect 1563 427 1594 459
rect 1560 425 1594 427
rect 1736 427 1769 459
rect 1769 427 1770 459
rect 1736 425 1770 427
rect 1908 427 1941 459
rect 1941 427 1942 459
rect 1908 425 1942 427
rect 2079 427 2113 459
rect 2079 425 2113 427
rect 2251 427 2284 459
rect 2284 427 2285 459
rect 2251 425 2285 427
rect 2422 427 2456 459
rect 2422 425 2456 427
rect 2592 427 2594 459
rect 2594 427 2626 459
rect 2592 425 2626 427
rect 2768 427 2800 459
rect 2800 427 2802 459
rect 2768 425 2802 427
rect 505 163 539 187
rect 505 153 519 163
rect 519 153 539 163
rect 577 153 611 187
rect 1042 153 1076 187
rect 29 -17 63 17
rect 121 -17 155 17
rect 213 -17 247 17
rect 305 -17 339 17
rect 397 -17 431 17
rect 489 -17 523 17
rect 581 -17 615 17
rect 673 -17 707 17
rect 765 -17 799 17
rect 857 -17 891 17
rect 949 -17 983 17
rect 1041 -17 1075 17
rect 1133 -17 1167 17
rect 1225 -17 1259 17
rect 1317 -17 1351 17
rect 1409 -17 1443 17
rect 1501 -17 1535 17
rect 1593 -17 1627 17
rect 1685 -17 1719 17
rect 1777 -17 1811 17
rect 1869 -17 1903 17
rect 1961 -17 1995 17
rect 2053 -17 2087 17
rect 2145 -17 2179 17
rect 2237 -17 2271 17
rect 2329 -17 2363 17
rect 2421 -17 2455 17
rect 2513 -17 2547 17
rect 2605 -17 2639 17
rect 2697 -17 2731 17
rect 2789 -17 2823 17
<< metal1 >>
rect 0 561 2852 592
rect 0 527 29 561
rect 63 527 121 561
rect 155 527 213 561
rect 247 527 305 561
rect 339 527 397 561
rect 431 527 489 561
rect 523 527 581 561
rect 615 527 673 561
rect 707 527 765 561
rect 799 527 857 561
rect 891 527 949 561
rect 983 527 1041 561
rect 1075 527 1133 561
rect 1167 527 1225 561
rect 1259 527 1317 561
rect 1351 527 1409 561
rect 1443 527 1501 561
rect 1535 527 1593 561
rect 1627 527 1685 561
rect 1719 527 1777 561
rect 1811 527 1869 561
rect 1903 527 1961 561
rect 1995 527 2053 561
rect 2087 527 2145 561
rect 2179 527 2237 561
rect 2271 527 2329 561
rect 2363 527 2421 561
rect 2455 527 2513 561
rect 2547 527 2605 561
rect 2639 527 2697 561
rect 2731 527 2789 561
rect 2823 527 2852 561
rect 0 496 2852 527
rect 14 459 2838 468
rect 14 428 1047 459
rect 1035 425 1047 428
rect 1081 428 1219 459
rect 1081 425 1093 428
rect 1035 416 1093 425
rect 1207 425 1219 428
rect 1253 428 1390 459
rect 1253 425 1265 428
rect 1207 416 1265 425
rect 1378 425 1390 428
rect 1424 428 1560 459
rect 1424 425 1436 428
rect 1378 416 1436 425
rect 1548 425 1560 428
rect 1594 428 1736 459
rect 1594 425 1606 428
rect 1548 416 1606 425
rect 1724 425 1736 428
rect 1770 428 1908 459
rect 1770 425 1782 428
rect 1724 416 1782 425
rect 1896 425 1908 428
rect 1942 428 2079 459
rect 1942 425 1954 428
rect 1896 416 1954 425
rect 2067 425 2079 428
rect 2113 428 2251 459
rect 2113 425 2125 428
rect 2067 416 2125 425
rect 2239 425 2251 428
rect 2285 428 2422 459
rect 2285 425 2297 428
rect 2239 416 2297 425
rect 2410 425 2422 428
rect 2456 428 2592 459
rect 2456 425 2468 428
rect 2410 416 2468 425
rect 2580 425 2592 428
rect 2626 428 2768 459
rect 2626 425 2638 428
rect 2580 416 2638 425
rect 2756 425 2768 428
rect 2802 428 2838 459
rect 2802 425 2814 428
rect 2756 416 2814 425
rect 493 187 623 193
rect 493 153 505 187
rect 539 153 577 187
rect 611 184 623 187
rect 1030 187 1088 193
rect 1030 184 1042 187
rect 611 156 1042 184
rect 611 153 623 156
rect 493 147 623 153
rect 1030 153 1042 156
rect 1076 153 1088 187
rect 1030 147 1088 153
rect 0 17 2852 48
rect 0 -17 29 17
rect 63 -17 121 17
rect 155 -17 213 17
rect 247 -17 305 17
rect 339 -17 397 17
rect 431 -17 489 17
rect 523 -17 581 17
rect 615 -17 673 17
rect 707 -17 765 17
rect 799 -17 857 17
rect 891 -17 949 17
rect 983 -17 1041 17
rect 1075 -17 1133 17
rect 1167 -17 1225 17
rect 1259 -17 1317 17
rect 1351 -17 1409 17
rect 1443 -17 1501 17
rect 1535 -17 1593 17
rect 1627 -17 1685 17
rect 1719 -17 1777 17
rect 1811 -17 1869 17
rect 1903 -17 1961 17
rect 1995 -17 2053 17
rect 2087 -17 2145 17
rect 2179 -17 2237 17
rect 2271 -17 2329 17
rect 2363 -17 2421 17
rect 2455 -17 2513 17
rect 2547 -17 2605 17
rect 2639 -17 2697 17
rect 2731 -17 2789 17
rect 2823 -17 2852 17
rect 0 -48 2852 -17
<< labels >>
flabel locali s 2697 153 2731 187 0 FreeSans 200 0 0 0 X
port 8 nsew signal output
flabel locali s 2605 153 2639 187 0 FreeSans 200 0 0 0 X
port 8 nsew signal output
flabel locali s 2605 221 2639 255 0 FreeSans 200 0 0 0 X
port 8 nsew signal output
flabel locali s 2697 221 2731 255 0 FreeSans 200 0 0 0 X
port 8 nsew signal output
flabel locali s 2697 289 2731 323 0 FreeSans 200 0 0 0 X
port 8 nsew signal output
flabel locali s 2605 289 2639 323 0 FreeSans 200 0 0 0 X
port 8 nsew signal output
flabel locali s 50 221 84 255 0 FreeSans 200 180 0 0 A
port 1 nsew signal input
flabel locali s 856 221 890 255 0 FreeSans 200 180 0 0 SLEEP
port 2 nsew signal input
flabel pwell s 30 -17 64 17 0 FreeSans 200 0 0 0 VNB
port 5 nsew ground bidirectional
flabel pwell s 1041 -17 1075 17 0 FreeSans 200 0 0 0 VNB
port 5 nsew ground bidirectional
flabel pwell s 1058 0 1058 0 0 FreeSans 200 0 0 0 VNB
flabel nwell s 30 527 64 561 0 FreeSans 200 0 0 0 VPB
port 6 nsew power bidirectional
flabel nwell s 1041 527 1075 561 0 FreeSans 200 0 0 0 VPB
port 6 nsew power bidirectional
flabel nwell s 1058 544 1058 544 0 FreeSans 200 0 0 0 VPB
flabel metal1 s 30 -17 64 17 0 FreeSans 200 0 0 0 VGND
port 4 nsew ground bidirectional abutment
flabel metal1 s 30 527 64 561 0 FreeSans 200 0 0 0 VPWR
port 7 nsew power bidirectional abutment
flabel metal1 s 26 428 75 468 0 FreeSans 200 0 0 0 KAPWR
port 3 nsew power bidirectional abutment
rlabel comment s 0 0 0 0 4 lpflow_isobufsrckapwr_16
rlabel locali s 2242 381 2291 493 1 KAPWR
port 3 nsew power bidirectional abutment
rlabel locali s 2414 381 2463 493 1 KAPWR
port 3 nsew power bidirectional abutment
rlabel locali s 2586 381 2637 493 1 KAPWR
port 3 nsew power bidirectional abutment
rlabel locali s 2763 378 2817 493 1 KAPWR
port 3 nsew power bidirectional abutment
rlabel locali s 1031 299 1097 493 1 KAPWR
port 3 nsew power bidirectional abutment
rlabel locali s 1203 299 1269 493 1 KAPWR
port 3 nsew power bidirectional abutment
rlabel locali s 1375 299 1441 493 1 KAPWR
port 3 nsew power bidirectional abutment
rlabel locali s 1554 381 1606 493 1 KAPWR
port 3 nsew power bidirectional abutment
rlabel locali s 1726 381 1778 493 1 KAPWR
port 3 nsew power bidirectional abutment
rlabel locali s 1898 381 1950 493 1 KAPWR
port 3 nsew power bidirectional abutment
rlabel metal1 s 2756 416 2814 428 1 KAPWR
port 3 nsew power bidirectional abutment
rlabel metal1 s 2580 416 2638 428 1 KAPWR
port 3 nsew power bidirectional abutment
rlabel metal1 s 2410 416 2468 428 1 KAPWR
port 3 nsew power bidirectional abutment
rlabel metal1 s 2239 416 2297 428 1 KAPWR
port 3 nsew power bidirectional abutment
rlabel metal1 s 2067 416 2125 428 1 KAPWR
port 3 nsew power bidirectional abutment
rlabel metal1 s 1896 416 1954 428 1 KAPWR
port 3 nsew power bidirectional abutment
rlabel metal1 s 1724 416 1782 428 1 KAPWR
port 3 nsew power bidirectional abutment
rlabel metal1 s 1548 416 1606 428 1 KAPWR
port 3 nsew power bidirectional abutment
rlabel metal1 s 1378 416 1436 428 1 KAPWR
port 3 nsew power bidirectional abutment
rlabel metal1 s 1207 416 1265 428 1 KAPWR
port 3 nsew power bidirectional abutment
rlabel metal1 s 1035 416 1093 428 1 KAPWR
port 3 nsew power bidirectional abutment
rlabel metal1 s 14 428 2838 468 1 KAPWR
port 3 nsew power bidirectional abutment
rlabel metal1 s 0 -48 2852 48 1 VGND
port 4 nsew ground bidirectional abutment
rlabel metal1 s 0 496 2852 592 1 VPWR
port 7 nsew power bidirectional abutment
<< properties >>
string FIXED_BBOX 0 0 2852 544
string GDS_END 2444532
string GDS_FILE $PDKPATH/libs.ref/sky130_fd_sc_hd/gds/sky130_fd_sc_hd.gds
string GDS_START 2422616
string LEFclass CORE
string LEFsite unithd
string LEFsymmetry X Y R90
string path 0.000 0.000 71.300 0.000 
<< end >>
